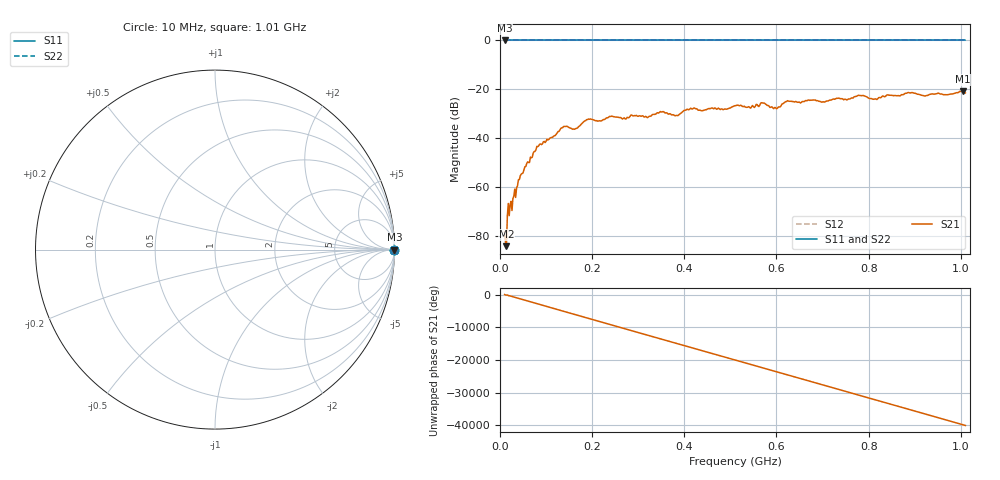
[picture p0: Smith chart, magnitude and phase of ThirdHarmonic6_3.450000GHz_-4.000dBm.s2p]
! 8/17/2025 11:08:31 AM
! C:\ANRITSUVNA\TEMP\TEMP.S2P
! CHANNEL.1
! TR.MEASUREMENT
! RAW.DATA
! RF.CORRECTION.OFF
! AVERAGING.OFF
! IF.BANDWIDTH: 5KHZ
! SWEEPTYPE:  FREQ.SWEEP(Linear)
! Reference Plane Port Info
! PORT:  PORT1  PORT2
! DISTANCE:  0  m  0  m
! TIME:  0  s  0  s
! PHASE.OFFSET:  0  deg.  0  deg.
! LOSS:  0  dB  0  dB
! REF.LOSS:  0  dB  0  dB
! REF.FREQ:  0  Hz  0  Hz
! Power Info
! POWER:  -20  dBm  -20  dBm
! EFF.POWER:  -20  dBm  -20  dBm
! SOURCE.ATTEN:  0  dB  0  dB
! TEST.ATTEN:  0  dB  0  dB
# GHZ S RI R 50.0
! FREQ.GHZ  S11RE  S11IM  S21RE  S21IM  S12RE  S12IM  S22RE  S22IM
!; PortSelection: Port_12
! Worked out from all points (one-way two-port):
!   501 points, 10 MHz to 1.01 GHz, reference 50 ohm
!   highest |S21| = -20.78 dB at 1.004 GHz (marker M1); lowest = -84.1 dB at 14 MHz (marker M2)
!   lowest |S11| = 0.0 dB at 10 MHz (marker M3)
!   |S11| at or under -10 dB: nowhere
!   |S22| runs from 0.0 to 0.0 dB; largest |S21 - S12| = 1.1
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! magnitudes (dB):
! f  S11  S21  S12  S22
! 10 MHz  0.0  -78.3  0.0  0.0
! 14 MHz  0.0  -84.1  0.0  0.0
! 20 MHz  0.0  -71.6  0.0  0.0
! 30 MHz  0.0  -63.6  0.0  0.0
! 44 MHz  0.0  -55.3  0.0  0.0
! 82 MHz  0.0  -43.4  0.0  0.0
! 136 MHz  0.0  -35.7  0.0  0.0
! 162 MHz  0.0  -36.3  0.0  0.0
! 178 MHz  0.0  -33.9  0.0  0.0
! 192 MHz  0.0  -32.1  0.0  0.0
! 322 MHz  0.0  -31.3  0.0  0.0
! 344 MHz  0.0  -29.7  0.0  0.0
! 382 MHz  0.0  -30.7  0.0  0.0
! 418 MHz  0.0  -28.0  0.0  0.0
! 510 MHz  0.0  -26.7  0.0  0.0
! 570 MHz  0.0  -25.6  0.0  0.0
! 598 MHz  0.0  -27.5  0.0  0.0
! 622 MHz  0.0  -24.9  0.0  0.0
! 678 MHz  0.0  -24.4  0.0  0.0
! 844 MHz  0.0  -22.4  0.0  0.0
! 1.004 GHz  0.0  -20.8  0.0  0.0
! 1.01 GHz  0.0  -21.4  0.0  0.0
